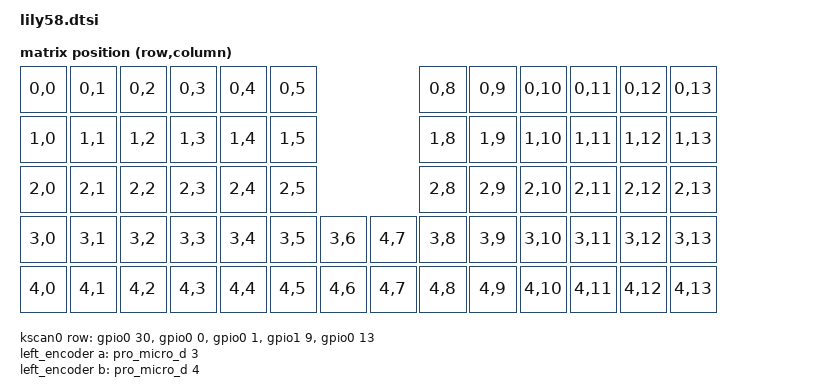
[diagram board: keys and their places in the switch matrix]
/*
 * Copyright (c) 2020 Pete Johanson
 *
 * SPDX-License-Identifier: MIT
 */

#include <dt-bindings/zmk/matrix-transform.h>

/ {
	chosen {
		zmk,kscan = &kscan0;
		zmk,matrix_transform = &default_transform;
		zmk,display = &epd;
	};

	default_transform: keymap_transform_0 {
		compatible = "zmk,matrix-transform";
		columns = <16>;
		rows = <5>;
// | SW6  | SW5  | SW4  | SW3  | SW2  | SW1  |                     | SW1  | SW2  | SW3  | SW4  | SW5  | SW6  |
// | SW12 | SW11 | SW10 | SW9  | SW8  | SW7  |                       | SW7  | SW8  | SW9  | SW10 | SW11 | SW12 |
// | SW18 | SW17 | SW16 | SW15 | SW14 | SW13 |                       | SW13 | SW14 | SW15 | SW16 | SW17 | SW18 |
// | SW24 | SW23 | SW22 | SW21 | SW20 | SW19 | SW25 |            | SW25 | SW19 | SW20 | SW21 | SW22 | SW23 | SW24 |
// | SW32 |    SW31 |  SW30 | SW29 | SW28 |   SW27 | SW26 |        | SW26 | SW27 | SW28 | SW29 |
		map = <
RC(0,0) RC(0,1) RC(0,2) RC(0,3) RC(0,4) RC(0,5)                 RC(0,8) RC(0,9) RC(0,10) RC(0,11) RC(0,12) RC(0,13)
RC(1,0) RC(1,1) RC(1,2) RC(1,3) RC(1,4) RC(1,5)                 RC(1,8) RC(1,9) RC(1,10) RC(1,11) RC(1,12) RC(1,13)
RC(2,0) RC(2,1) RC(2,2) RC(2,3) RC(2,4) RC(2,5)                 RC(2,8) RC(2,9) RC(2,10) RC(2,11) RC(2,12) RC(2,13)
RC(3,0) RC(3,1) RC(3,2) RC(3,3) RC(3,4) RC(3,5) RC(3,6) RC(4,7) RC(3,8) RC(3,9) RC(3,10) RC(3,11) RC(3,12) RC(3,13)
RC(4,0) RC(4,1) RC(4,2) RC(4,3) RC(4,4) RC(4,5) RC(4,6) RC(4,7) RC(4,8) RC(4,9) RC(4,10) RC(4,11) RC(4,12) RC(4,13)
		>;
	};

	kscan0: kscan {
		compatible = "zmk,kscan-gpio-matrix";
		label = "KSCAN";

		diode-direction = "col2row";
		row-gpios
			= <&gpio0 30 (GPIO_ACTIVE_HIGH | GPIO_PULL_DOWN)>
			, <&gpio0 0 (GPIO_ACTIVE_HIGH | GPIO_PULL_DOWN)>
			, <&gpio0 1 (GPIO_ACTIVE_HIGH | GPIO_PULL_DOWN)>
			, <&gpio1 9 (GPIO_ACTIVE_HIGH | GPIO_PULL_DOWN)>
			, <&gpio0 13 (GPIO_ACTIVE_HIGH | GPIO_PULL_DOWN)>
			;
	};

	left_encoder: encoder_left {
		compatible = "alps,ec11";
		label = "LEFT_ENCODER";
		a-gpios = <&pro_micro_d 3 (GPIO_ACTIVE_HIGH | GPIO_PULL_UP)>;
		b-gpios = <&pro_micro_d 4 (GPIO_ACTIVE_HIGH | GPIO_PULL_UP)>;
		resolution = <4>;
	};

	sensors {
		compatible = "zmk,keymap-sensors";
		sensors = <&left_encoder>;
	};

	bt_unpair_combo: bt_unpair_combo {
		compatible = "zmk,bt-unpair-combo";
	};
};


&pro_micro_spi {
	status = "okay";
	cs-gpios = <&gpio1 2 GPIO_ACTIVE_LOW>;

	epd: il0323@0 {
		compatible = "gooddisplay,il0323";
		reg =  <0>;
		label = "DISPLAY";
		width = <80>;
		height = <128>;
		spi-max-frequency = <250000>;
		dc-gpios = <&gpio1 0 GPIO_ACTIVE_HIGH>;
		busy-gpios = <&gpio0 24 GPIO_ACTIVE_LOW>;
		reset-gpios = <&gpio0 22 GPIO_ACTIVE_HIGH>;
		pwr = [03 00 26 26];
		softstart = [17 17 17 17];
		cdi = <0xd2>;
		tcon = <0x22>;
	};
};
